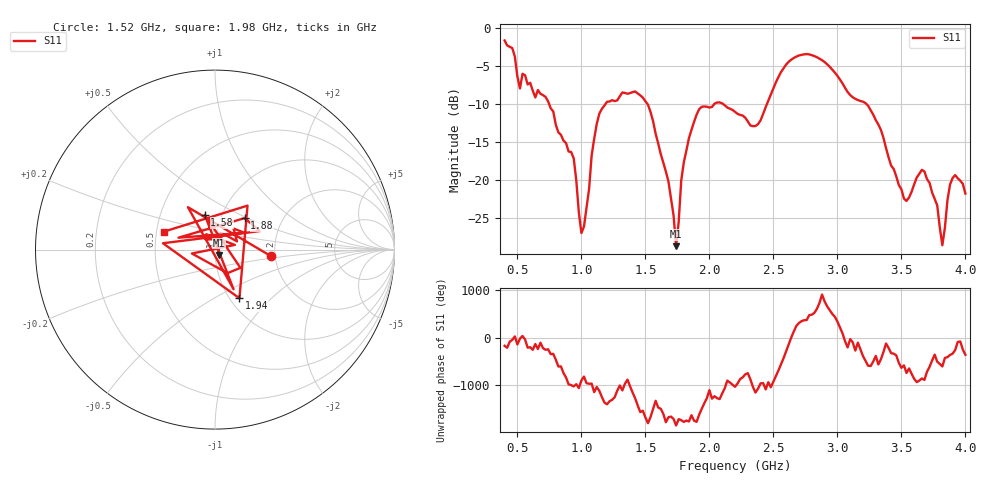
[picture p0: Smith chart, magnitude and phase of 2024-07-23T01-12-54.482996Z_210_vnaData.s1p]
!Created with skrf (http://scikit-rf.org).
# Hz S RI R 50.0
!freq ReS11 ImS11
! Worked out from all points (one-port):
!   181 points, 400 MHz to 4 GHz, reference 50 ohm
!   lowest |S11| = -28.7 dB at 1.74 GHz (marker M1), VSWR 1.08, Z = 52.1 - j3.14 ohm
!   |S11| at or under -10 dB: 747.6 MHz to 1.188 GHz (440.2 MHz wide, 45.5 % of centre); 1.516 GHz to 2.038 GHz (521.7 MHz wide, 29.4 % of centre); 3.227 GHz to end of sweep (the widest 3 of 4)
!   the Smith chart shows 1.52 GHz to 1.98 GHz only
!   S11 on the Smith chart (normalised r, x): 1.52 GHz: 1.90, -0.15; 1.58 GHz: 0.83, +0.34; 1.88 GHz: 1.30, +0.48; 1.94 GHz: 1.11, -0.66; 1.98 GHz: 0.54, +0.12
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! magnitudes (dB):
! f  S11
! 400 MHz  -1.7
! 520 MHz  -8.0
! 720 MHz  -9.1
! 860 MHz  -14.8
! 940 MHz  -17.1
! 1 GHz  -26.9
! 1.14 GHz  -11.3
! 1.3 GHz  -9.0
! 1.52 GHz  -10.1
! 1.58 GHz  -13.9
! 1.68 GHz  -20.2
! 1.74 GHz  -28.7
! 1.76 GHz  -25.5
! 1.8 GHz  -17.7
! 1.88 GHz  -12.3
! 1.94 GHz  -10.4
! 1.98 GHz  -10.4
! 2.2 GHz  -11.0
! 2.38 GHz  -12.6
! 2.66 GHz  -3.9
! 3.1 GHz  -8.8
! 3.24 GHz  -10.2
! 3.56 GHz  -22.3
! 3.68 GHz  -18.9
! 3.78 GHz  -23.3
! 3.82 GHz  -28.5
! 3.9 GHz  -19.7
! 4 GHz  -21.8
